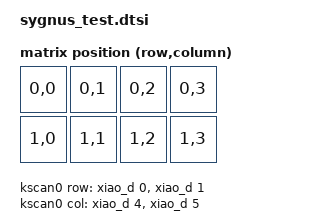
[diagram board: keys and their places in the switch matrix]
#include <dt-bindings/zmk/matrix_transform.h>

/ {
    chosen {
        zmk,kscan = &kscan0;
        zmk,matrix_transform = &default_transform;
    };

    default_transform: keymap_transform_0 {
        compatible = "zmk,matrix-transform";
        columns = <4>;
        rows = <2>;
        // 2x2 per side = 4 keys per side, 8 total
        map = <
            RC(0,0) RC(0,1)     RC(0,2) RC(0,3)
            RC(1,0) RC(1,1)     RC(1,2) RC(1,3)
        >;
    };

    kscan0: kscan {
        compatible = "zmk,kscan-gpio-matrix";
        label = "KSCAN";
        diode-direction = "col2row";
        
        // Test configuration for optical switches
        // Only using 2 rows and 2 columns for testing
        row-gpios = <&xiao_d 0 (GPIO_ACTIVE_HIGH | GPIO_PULL_DOWN)>,
                    <&xiao_d 1 (GPIO_ACTIVE_HIGH | GPIO_PULL_DOWN)>;
        
        col-gpios = <&xiao_d 4 (GPIO_ACTIVE_LOW | GPIO_PULL_UP)>,
                    <&xiao_d 5 (GPIO_ACTIVE_LOW | GPIO_PULL_UP)>;
    };
};
